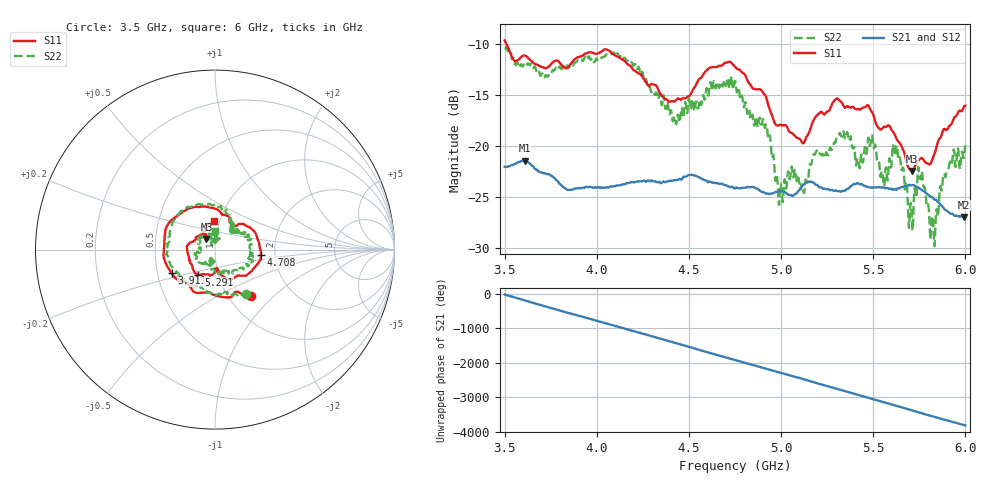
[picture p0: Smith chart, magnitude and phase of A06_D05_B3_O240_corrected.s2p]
! Created with skrf 1.9.0 (http://scikit-rf.org).
# Hz S RI R 50.0
!freq ReS11 ImS11 ReS21 ImS21 ReS12 ImS12 ReS22 ImS22
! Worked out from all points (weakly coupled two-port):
!   1601 points, 3.5 GHz to 6 GHz, reference 50 ohm
!   highest |S21| = -21.41 dB at 3.609 GHz (marker M1); lowest = -26.9 dB at 5.994 GHz (marker M2)
!   lowest |S11| = -22.4 dB at 5.711 GHz (marker M3), VSWR 1.16, Z = 45.2 + j5.34 ohm
!   |S11| at or under -10 dB: 3.511 GHz to end of sweep
!   |S22| runs from -29.8 to -10.3 dB; largest |S21 - S12| = 0.00096
!   S11 on the Smith chart (normalised r, x): 3.5 GHz: 1.27, -0.74; 3.911 GHz: 0.59, -0.17; 4.708 GHz: 1.68, -0.11; 5.291 GHz: 0.80, -0.23; 6 GHz: 0.94, +0.30
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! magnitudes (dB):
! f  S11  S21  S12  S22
! 3.5 GHz  -9.6  -22.0  -22.0  -10.4
! 3.609 GHz  -11.1  -21.4  -21.4  -11.9
! 3.911 GHz  -11.2  -24.1  -24.1  -11.5
! 3.917 GHz  -11.2  -24.1  -24.1  -11.5
! 4.123 GHz  -11.3  -23.8  -23.8  -11.3
! 4.334 GHz  -14.5  -23.5  -23.5  -15.4
! 4.439 GHz  -15.3  -23.3  -23.3  -16.9
! 4.708 GHz  -11.8  -23.9  -23.8  -13.4
! 4.75 GHz  -12.2  -24.1  -24.1  -13.6
! 4.912 GHz  -15.0  -24.6  -24.6  -18.2
! 4.998 GHz  -17.9  -24.4  -24.4  -23.7
! 5.167 GHz  -17.8  -23.5  -23.5  -21.5
! 5.291 GHz  -15.5  -24.4  -24.4  -19.6
! 5.484 GHz  -16.4  -24.0  -24.0  -19.8
! 5.584 GHz  -18.0  -24.2  -24.1  -21.7
! 5.634 GHz  -19.5  -24.1  -24.1  -21.0
! 5.711 GHz  -22.4  -23.8  -23.8  -27.9
! 5.755 GHz  -21.2  -24.2  -24.1  -23.2
! 5.822 GHz  -21.2  -25.0  -25.0  -26.9
! 5.888 GHz  -18.3  -26.2  -26.2  -22.8
! 5.994 GHz  -16.1  -26.9  -26.9  -20.8
! 6 GHz  -16.0  -26.9  -26.9  -19.9
